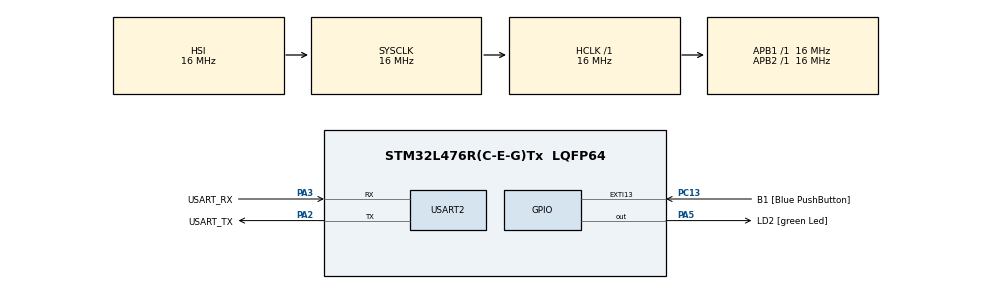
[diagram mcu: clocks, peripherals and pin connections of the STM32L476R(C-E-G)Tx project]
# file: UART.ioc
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Mcu.Family=STM32L4
Mcu.Name=STM32L476R(C-E-G)Tx
Mcu.Package=LQFP64
NVIC.PriorityGroup=NVIC_PRIORITYGROUP_4
PA13\ (JTMS-SWDIO).GPIO_Label=TMS
PA13\ (JTMS-SWDIO).Mode=Serial_Wire
PA13\ (JTMS-SWDIO).Signal=SYS_JTMS-SWDIO
PA14\ (JTCK-SWCLK).GPIO_Label=TCK
PA14\ (JTCK-SWCLK).Mode=Serial_Wire
PA14\ (JTCK-SWCLK).Signal=SYS_JTCK-SWCLK
PA2.GPIO_Label=USART_TX
PA2.GPIO_Mode=GPIO_MODE_AF_PP
PA2.GPIO_PuPd=GPIO_NOPULL
PA2.GPIO_Speed=GPIO_SPEED_FREQ_VERY_HIGH
PA2.Mode=Asynchronous
PA2.Signal=USART2_TX
PA3.GPIO_Label=USART_RX
PA3.GPIO_Mode=GPIO_MODE_AF_PP
PA3.GPIO_PuPd=GPIO_NOPULL
PA3.GPIO_Speed=GPIO_SPEED_FREQ_VERY_HIGH
PA3.Mode=Asynchronous
PA3.Signal=USART2_RX
PA5.GPIO_Label=LD2 [green Led]
PA5.GPIO_ModeDefaultOutputPP=GPIO_MODE_OUTPUT_PP
PA5.GPIO_PuPd=GPIO_NOPULL
PA5.GPIO_Speed=GPIO_SPEED_FREQ_LOW
PA5.Signal=GPIO_Output
PB3\ (JTDO-TRACESWO).GPIO_Label=SWO
PB3\ (JTDO-TRACESWO).Signal=SYS_JTDO-SWO
PC13.GPIO_Label=B1 [Blue PushButton]
PC13.GPIO_ModeDefaultEXTI=GPIO_MODE_IT_FALLING
PC13.GPIO_PuPd=GPIO_NOPULL
PC13.Signal=GPXTI13
PC14-OSC32_IN\ (PC14).Mode=LSE-External-Oscillator
PC14-OSC32_IN\ (PC14).Signal=RCC_OSC32_IN
PC15-OSC32_OUT\ (PC15).Mode=LSE-External-Oscillator
PC15-OSC32_OUT\ (PC15).Signal=RCC_OSC32_OUT
PH0-OSC_IN\ (PH0).Signal=RCC_OSC_IN
PH1-OSC_OUT\ (PH1).Signal=RCC_OSC_OUT
ProjectManager.HeapSize=0x200
ProjectManager.StackSize=0x400
ProjectManager.TargetToolchain=Makefile
RCC.ADCFreq_Value=64000000
RCC.AHBFreq_Value=16000000
RCC.APB1Freq_Value=16000000
RCC.APB1TimFreq_Value=16000000
RCC.APB2Freq_Value=16000000
RCC.APB2TimFreq_Value=16000000
RCC.CortexFreq_Value=16000000
RCC.HCLKFreq_Value=16000000
RCC.HSE_VALUE=8000000
RCC.HSI_VALUE=16000000
RCC.MSI_VALUE=4000000
RCC.PLLN=10
RCC.PLLSourceVirtual=RCC_PLLSOURCE_HSI
RCC.PREFETCH_ENABLE=1
RCC.SYSCLKFreq_VALUE=16000000
RCC.SYSCLKSource=RCC_SYSCLKSOURCE_HSI
RCC.USBFreq_Value=64000000
RCC.VCOOutputFreq_Value=160000000
USART2.VirtualMode-Asynchronous=VM_ASYNC
board=NUCLEO-L476RG

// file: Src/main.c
/**
  ******************************************************************************
  * @file           : main.c
  * @brief          : Main program body
  ******************************************************************************
  ** This notice applies to any and all portions of this file
  * that are not between comment pairs USER CODE BEGIN and
  * USER CODE END. Other portions of this file, whether
  * inserted by the user or by software development tools
  * are owned by their respective copyright owners.
  *
  * COPYRIGHT(c) 2018 STMicroelectronics
  *
  * Redistribution and use in source and binary forms, with or without modification,
  * are permitted provided that the following conditions are met:
  *   1. Redistributions of source code must retain the above copyright notice,
  *      this list of conditions and the following disclaimer.
  *   2. Redistributions in binary form must reproduce the above copyright notice,
  *      this list of conditions and the following disclaimer in the documentation
  *      and/or other materials provided with the distribution.
  *   3. Neither the name of STMicroelectronics nor the names of its contributors
  *      may be used to endorse or promote products derived from this software
  *      without specific prior written permission.
  *
  * THIS SOFTWARE IS PROVIDED BY THE COPYRIGHT HOLDERS AND CONTRIBUTORS "AS IS"
  * AND ANY EXPRESS OR IMPLIED WARRANTIES, INCLUDING, BUT NOT LIMITED TO, THE
  * IMPLIED WARRANTIES OF MERCHANTABILITY AND FITNESS FOR A PARTICULAR PURPOSE ARE
  * DISCLAIMED. IN NO EVENT SHALL THE COPYRIGHT HOLDER OR CONTRIBUTORS BE LIABLE
  * FOR ANY DIRECT, INDIRECT, INCIDENTAL, SPECIAL, EXEMPLARY, OR CONSEQUENTIAL
  * DAMAGES (INCLUDING, BUT NOT LIMITED TO, PROCUREMENT OF SUBSTITUTE GOODS OR
  * SERVICES; LOSS OF USE, DATA, OR PROFITS; OR BUSINESS INTERRUPTION) HOWEVER
  * CAUSED AND ON ANY THEORY OF LIABILITY, WHETHER IN CONTRACT, STRICT LIABILITY,
  * OR TORT (INCLUDING NEGLIGENCE OR OTHERWISE) ARISING IN ANY WAY OUT OF THE USE
  * OF THIS SOFTWARE, EVEN IF ADVISED OF THE POSSIBILITY OF SUCH DAMAGE.
  *
  ******************************************************************************
  */
#include "main.h"
#include "stm32l4xx_hal.h"
#include "usart.h"
#include "gpio.h"
#include "ADCsrc.h"

/* USER CODE BEGIN Includes */
#include <stdint.h>

/* USER CODE END Includes */

/* USER CODE BEGIN PV */
#define SAMPLE_SIZE 4096

volatile uint32_t Buffer_Ping[SAMPLE_SIZE];
volatile uint32_t Buffer_Pong[SAMPLE_SIZE];
volatile uint32_t *pReadyWrite = Buffer_Ping;
volatile uint32_t *pReadyProcess = Buffer_Pong;
volatile uint32_t ADC_DMA_DONE = 0;
/* Private variables ---------------------------------------------------------*/

/* USER CODE END PV */

void SystemClock_Config(void);

/* USER CODE BEGIN PFP */
/* Private function prototypes -----------------------------------------------*/
void DMA_Init(int arg);
void DMA1_Channel1_IRQHandler(void);
/* USER CODE END PFP */

/* USER CODE BEGIN 0 */
float vsense = 3.3/4095.0;

/* USER CODE END 0 */

int main(void)
{
  /* USER CODE BEGIN 1 */
  char Message[40] = "Thing\n\r";
  int i = 0;
  float volt[SAMPLE_SIZE];
  float frequency;

  /* USER CODE END 1 */

  /* MCU Configuration----------------------------------------------------------*/

  /* Reset of all peripherals, Initializes the Flash interface and the Systick. */
  HAL_Init();

  /* Configure the system clock */
  SystemClock_Config();

  /* Initialize all configured peripherals */
  MX_GPIO_Init();
  MX_USART2_UART_Init();
  HAL_UART_Transmit(&huart2, (uint8_t *) &Message, 15, 0xFFF);
  /* USER CODE BEGIN 2 */
  GPIO_Init();
  sprintf(Message, "Thing1\n\r");
  HAL_UART_Transmit(&huart2, (uint8_t *) &Message, 15, 0xFFF);
    sprintf(Message, "Thing2\n\r");
  TIM4_Init();
  HAL_UART_Transmit(&huart2, (uint8_t *) &Message, 15, 0xFFF);
  sprintf(Message, "Thing3\n\r");

  ADC_Calibration();
  HAL_UART_Transmit(&huart2, (uint8_t *) &Message, 15, 0xFFF);
    sprintf(Message, "Thing4\n\r");

  ADC1_Init();

  DMA_Init(1);
  HAL_UART_Transmit(&huart2, (uint8_t *) &Message, 15, 0xFFF);
    sprintf(Message, "Thing5\n\r");

  HAL_UART_Transmit(&huart2, (uint8_t *) &Message, 15, 0xFFF);

  /* USER CODE END 2 */

  /* Infinite loop */
  /* USER CODE BEGIN WHILE */
  //ADC1->CR |= ADC_CR_ADSTART;
  while (1)
  {

//ADC1->CR |= ADC_CR_ADSTART;
  for(i =0; i<1000; i++){
  //  sprintf(Message, "The ADC is %d\n\r",(ADC1->DR)*vsense);
    //HAL_UART_Transmit(&huart2, (uint8_t *) &Message, 15, 0xFFF);
    while(ADC_DMA_DONE == 0);

    //volt[i] = pReadyProcess[0] * vsense;

    //ADC_DMA_DONE = 0;

//}
  /* USER CODE END WHILE */

  /* USER CODE BEGIN 3 */

  // Now convert the valid ADC data into the caller's array of floats.
  // Samples are normalized to range from -1.0 to 1.0
  // 1/32768 = 3.0517578e-05  (Multiplication is much faster than dividing)

 //volt[i] = ((float)((int)pReadyProcess[0]-32767))*3.0517578e-05f;
  volt[i] = pReadyProcess[0];
  //sprintf(Message, "The Sensor is %d\n\r", pReadyProcess[0]);
  //HAL_UART_Transmit(&huart2, (uint8_t *) &Message, 40, 0xFFF);
  ADC_DMA_DONE = 0;
  /*end For */
 }

 findFrequency(volt, SAMPLE_SIZE, &frequency);

 //gcvt(frequency, 4, Message);
 sprintf(Message, "The Note is %f, voltage is%d \n\r", frequency, pReadyProcess[0]);
 /*transmit sring over usart2 */
 HAL_UART_Transmit(&huart2, (uint8_t *) &Message, 40, 0xFFF);

//ADC_DMA_DONE = 0;
  }

  //HAL_Delay(1000);
}
  /* USER CODE END 3 */

void SystemClock_Config(void)
{

  RCC_OscInitTypeDef RCC_OscInitStruct;
  RCC_ClkInitTypeDef RCC_ClkInitStruct;
  RCC_PeriphCLKInitTypeDef PeriphClkInit;

    /**Initializes the CPU, AHB and APB busses clocks
    */
  RCC_OscInitStruct.OscillatorType = RCC_OSCILLATORTYPE_HSI;
  RCC_OscInitStruct.HSIState = RCC_HSI_ON;
  RCC_OscInitStruct.HSICalibrationValue = 16;
  RCC_OscInitStruct.PLL.PLLState = RCC_PLL_NONE;
  if (HAL_RCC_OscConfig(&RCC_OscInitStruct) != HAL_OK)
  {
    _Error_Handler(__FILE__, __LINE__);
  }

    /**Initializes the CPU, AHB and APB busses clocks
    */
  RCC_ClkInitStruct.ClockType = RCC_CLOCKTYPE_HCLK|RCC_CLOCKTYPE_SYSCLK
                              |RCC_CLOCKTYPE_PCLK1|RCC_CLOCKTYPE_PCLK2;
  RCC_ClkInitStruct.SYSCLKSource = RCC_SYSCLKSOURCE_HSI;
  RCC_ClkInitStruct.AHBCLKDivider = RCC_SYSCLK_DIV1;
  RCC_ClkInitStruct.APB1CLKDivider = RCC_HCLK_DIV1;
  RCC_ClkInitStruct.APB2CLKDivider = RCC_HCLK_DIV1;

  if (HAL_RCC_ClockConfig(&RCC_ClkInitStruct, FLASH_LATENCY_0) != HAL_OK)
  {
    _Error_Handler(__FILE__, __LINE__);
  }

  PeriphClkInit.PeriphClockSelection = RCC_PERIPHCLK_USART2;
  PeriphClkInit.Usart2ClockSelection = RCC_USART2CLKSOURCE_PCLK1;
  if (HAL_RCCEx_PeriphCLKConfig(&PeriphClkInit) != HAL_OK)
  {
    _Error_Handler(__FILE__, __LINE__);
  }

    /**Configure the main internal regulator output voltage
    */
  if (HAL_PWREx_ControlVoltageScaling(PWR_REGULATOR_VOLTAGE_SCALE1) != HAL_OK)
  {
    _Error_Handler(__FILE__, __LINE__);
  }

    /**Configure the Systick interrupt time
    */
  HAL_SYSTICK_Config(HAL_RCC_GetHCLKFreq()/1000);

    /**Configure the Systick
    */
  HAL_SYSTICK_CLKSourceConfig(SYSTICK_CLKSOURCE_HCLK);

  /* SysTick_IRQn interrupt configuration */
  HAL_NVIC_SetPriority(SysTick_IRQn, 0, 0);
}

/* USER CODE BEGIN 4 */

//DMA Init

void DMA_Init(int arg)
{
//arg number of conversions
//uint16_t ADC_Results[arg];

/* Enable DMA1 Clock */
RCC->AHB1ENR |= RCC_AHB1ENR_DMA1EN;

//Enable DMA channel
DMA1_Channel1->CCR &= ~DMA_CCR_EN;

/*DMA1 channel 1 config for ADC1 */
//disable memory to memory mode
DMA1_Channel1->CCR &= ~DMA_CCR_MEM2MEM;

//Channel Priorty level
// 00 = low, 01 = medium, 10 = high, 11 = very high
//set to high priority
DMA1_Channel1->CCR &= ~DMA_CCR_PL;
DMA1_Channel1->CCR |= DMA_CCR_PL_1;

//peripheral size
//00 = 8bit, 01 = 16-bit, 10 = 32 bit, 11 = reserved
DMA1_Channel1->CCR &= ~DMA_CCR_PSIZE;
DMA1_Channel1->CCR |= DMA_CCR_PSIZE_0;

//Memory size
//00 = 8bit, 01 = 16-bit, 10 = 32 bit, 11 = reserved
DMA1_Channel1->CCR &= ~DMA_CCR_MSIZE;
DMA1_Channel1->CCR |= DMA_CCR_MSIZE_0;

//peripheral increment mode
//0 = disabled, 1 = enabled
DMA1_Channel1->CCR &= ~DMA_CCR_PINC;

//memory increment mode
//0 = disabled, 1 = enabled
DMA1_Channel1->CCR &= ~DMA_CCR_MINC;
DMA1_Channel1->CCR |= DMA_CCR_MINC;

//Circular
// 0 = disabled, 1 = enabled
DMA1_Channel1->CCR |= DMA_CCR_CIRC;

//Data trasnfer rate
//O read from peripheral
//1 read from memory
DMA1_Channel1->CCR &= ~DMA_CCR_DIR;

//number of ADC results to transfer
DMA1_Channel1->CNDTR = arg;

//peripheral address registers
DMA1_Channel1->CPAR = (uint32_t) &(ADC1->DR);

//memory address registers
//ping pong buffer
DMA1_Channel1->CMAR =  (uint32_t) pReadyProcess;

//transfer complete interrupt enable
DMA1_Channel1->CCR |= DMA_CCR_TCIE;

//disable half complete
DMA1_Channel1->CCR &= ~DMA_CCR_HTIE;
DMA1_Channel1->CCR |= DMA_CCR_HTIE;

// configure ADC for DMA in circular mode
//ADC1->CFGR |= ADC_CFGR_DMACFG;
//DMA enable?
//ADC1->CFGR |= ADC_CFGR_DMAEN;

//set DMA interrupt priority
NVIC_SetPriority(DMA1_Channel1_IRQn, 1);

//enable DMA INTERRUPT
NVIC_EnableIRQ(DMA1_Channel1_IRQn);

//DMA Channel selection
//map DMA channel 1 to ADC1
//0000: Channel 1 mapped to ADC1
DMA1_CSELR->CSELR &= ~DMA_CSELR_C1S;

//Enable DMA channel
DMA1_Channel1->CCR |= DMA_CCR_EN;

}

//*ADC DMA IRQ handler*/

void DMA1_Channel1_IRQHandler(void){

if((DMA1->ISR & DMA_ISR_TCIF1) == DMA_ISR_TCIF1){

  //write 1 to clear flag
  DMA1->IFCR |= DMA_IFCR_CTCIF1;

  if (pReadyWrite == Buffer_Ping){
    pReadyWrite = Buffer_Pong;
    pReadyProcess = Buffer_Ping;
  }
  else{
    pReadyWrite = Buffer_Ping;
    pReadyProcess = Buffer_Pong;
  }

  //DMA memory address
  DMA1_Channel1->CMAR = (uint32_t) pReadyWrite;
  ADC_DMA_DONE = 1;
 }

 else if(DMA1->ISR & DMA_ISR_TEIF1){
   while(1);
 }

//clear flags
DMA1->IFCR |= (DMA_IFCR_CHTIF1 | DMA_IFCR_CGIF1); //| DMA_IFCR_CTEIF1);
}

void ADC1_2_IRQHandler(void)
{
  if((ADC1->ISR & ADC_ISR_EOC) == ADC_ISR_EOC){
    ADC1->ISR |= ADC_ISR_EOC | ADC_ISR_EOS;

  }
}

/* USER CODE END 4 */

void _Error_Handler(char *file, int line)
{
  while(1)
  {
  }
}

/************************ (C) COPYRIGHT STMicroelectronics *****END OF FILE****/
